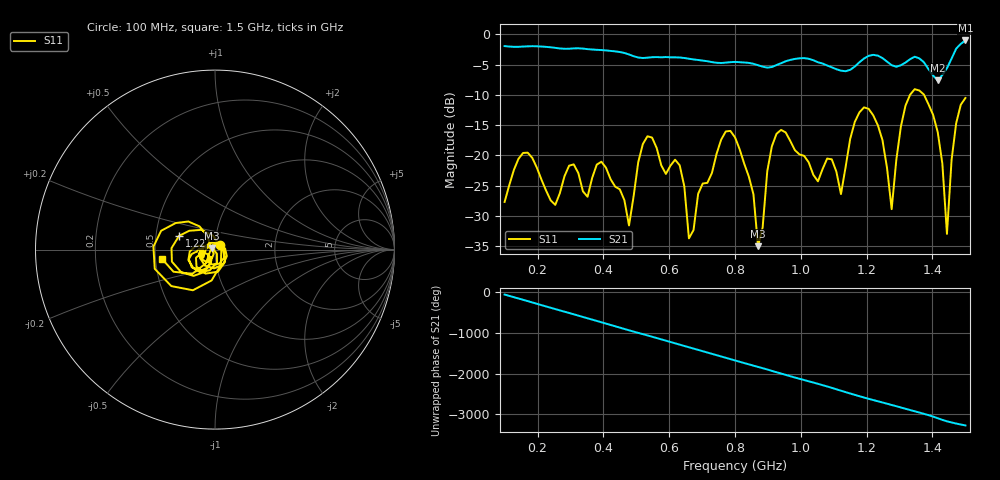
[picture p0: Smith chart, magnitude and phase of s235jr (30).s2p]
! NanoVNA-App
! Date: 2025-09-26 09:45:01
! Start: 100MHz Stop: 1,5GHz Points: 101
! S-Parameter data: F S11 S21 S12 S22
# Hz S RI R 50
!  Frequency  S11_Real  S11_Imag  S21_Real  S21_Imag  S12_Real  S12_Imag  S22_Real  S22_Imag
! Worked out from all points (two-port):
!   101 points, 100 MHz to 1.5 GHz, reference 50 ohm
!   highest |S21| = -1.02 dB at 1.5 GHz (marker M1); lowest = -7.6 dB at 1.416 GHz (marker M2)
!   |S21| within 3 dB of the highest: start of sweep to 658.6 MHz; 1.192 GHz to 1.25 GHz (58.71 MHz wide, 4.81 % of centre)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
!   lowest |S11| = -35.0 dB at 870 MHz (marker M3), VSWR 1.04, Z = 48.5 + j0.92 ohm
!   |S11| at or under -10 dB: start of sweep to 1.332 GHz; 1.374 GHz to end of sweep
!   S12 and S22 are empty: the file has one direction only
!   S11 on the Smith chart (normalised r, x): 100 MHz: 1.06, +0.06; 1.22 GHz: 0.66, +0.11; 1.5 GHz: 0.54, -0.06
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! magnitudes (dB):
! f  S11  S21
! 100 MHz  -27.7  -2.0
! 156 MHz  -19.6  -2.0
! 338 MHz  -25.9  -2.4
! 394 MHz  -21.0  -2.6
! 478 MHz  -31.6  -3.3
! 520 MHz  -18.1  -3.9
! 576 MHz  -21.6  -3.8
! 632 MHz  -21.6  -3.8
! 660 MHz  -33.7  -4.0
! 800 MHz  -17.0  -4.6
! 870 MHz  -35.0  -5.1
! 926 MHz  -16.4  -5.1
! 1.038 GHz  -23.2  -4.3
! 1.122 GHz  -26.4  -6.0
! 1.164 GHz  -14.5  -5.3
! 1.22 GHz  -13.4  -3.4
! 1.276 GHz  -28.9  -5.1
! 1.332 GHz  -10.0  -4.1
! 1.416 GHz  -16.2  -7.6
! 1.444 GHz  -32.9  -5.6
! 1.472 GHz  -14.7  -2.4
! 1.5 GHz  -10.5  -1.0
